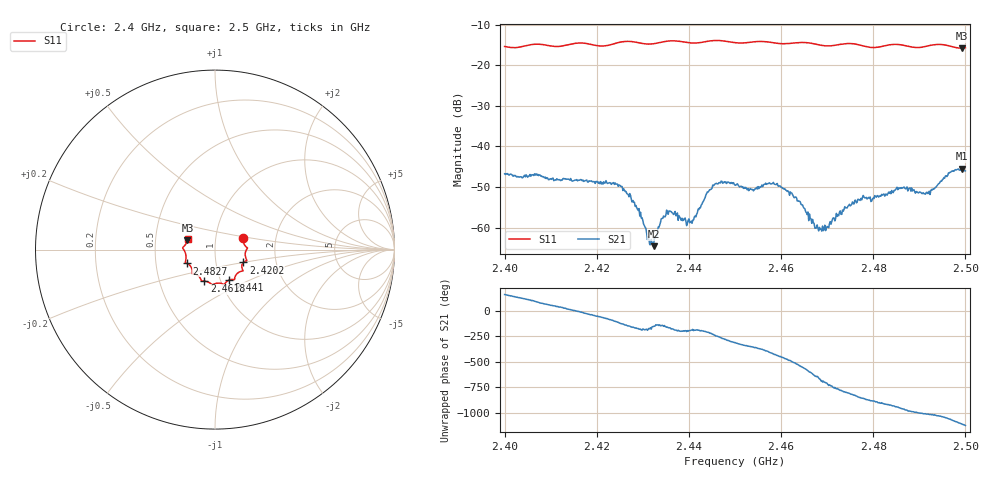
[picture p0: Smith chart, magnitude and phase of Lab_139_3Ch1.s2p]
# Hz S RI R 50
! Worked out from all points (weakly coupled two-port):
!   601 points, 2.4 GHz to 2.5 GHz, reference 50 ohm
!   highest |S21| = -45.46 dB at 2.4992 GHz (marker M1); lowest = -64.6 dB at 2.4323 GHz (marker M2)
!   lowest |S11| = -15.8 dB at 2.4993 GHz (marker M3), VSWR 1.39, Z = 36.5 + j3.84 ohm
!   |S11| at or under -10 dB: start of sweep to end of sweep
!   S12 and S22 are empty: the file has one direction only
!   S11 on the Smith chart (normalised r, x): 2.4 GHz: 1.36, +0.18; 2.4202 GHz: 1.36, -0.20; 2.441 GHz: 1.10, -0.39; 2.4618 GHz: 0.84, -0.30; 2.4827 GHz: 0.72, -0.12; 2.5 GHz: 0.73, +0.09
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2.4e9  0.158 0.0626  -0.00427 0.00168  0 0  0 0
2.416667e9  0.1772 -0.0606  0.00375 -0.000997  0 0  0 0
2.420167e9  0.1581 -0.0713  0.00218 -0.00296  0 0  0 0
2.4255e9  0.1557 -0.1158  -0.00199 -0.00249  0 0  0 0
2.429e9  0.1455 -0.121  -0.00161 -0.000184  0 0  0 0
2.4315e9  0.1222 -0.1347  -0.000613 -3.95e-05  0 0  0 0
2.432333e9  0.1161 -0.1419  -0.00053 -0.000258  0 0  0 0
2.433333e9  0.1115 -0.1511  -0.000759 -0.000668  0 0  0 0
2.435667e9  0.1093 -0.1658  -0.00156 -0.000375  0 0  0 0
2.441e9  0.0786 -0.1696  -0.0012 0.000314  0 0  0 0
2.4455e9  0.051 -0.1942  -0.00181 0.00284  0 0  0 0
2.45e9  0.0284 -0.1871  0.00219 0.00251  0 0  0 0
2.461833e9  -0.0594 -0.1753  -0.00142 -0.00205  0 0  0 0
2.466667e9  -0.0783 -0.1684  -0.000357 0.00107  0 0  0 0
2.469333e9  -0.0895 -0.1487  0.000879 0.000364  0 0  0 0
2.4765e9  -0.1269 -0.1275  -0.000975 -0.0018  0 0  0 0
2.482667e9  -0.156 -0.0774  -0.00249 0.000613  0 0  0 0
2.483333e9  -0.1603 -0.0754  -0.00259 0.000853  0 0  0 0
2.491833e9  -0.1723 -0.00316  0.000952 0.00244  0 0  0 0
2.499167e9  -0.1546 0.0488  0.00476 -0.00239  0 0  0 0
2.499333e9  -0.1537 0.0512  0.00444 -0.0027  0 0  0 0
2.5e9  -0.1522 0.0608  0.00369 -0.00334  0 0  0 0
